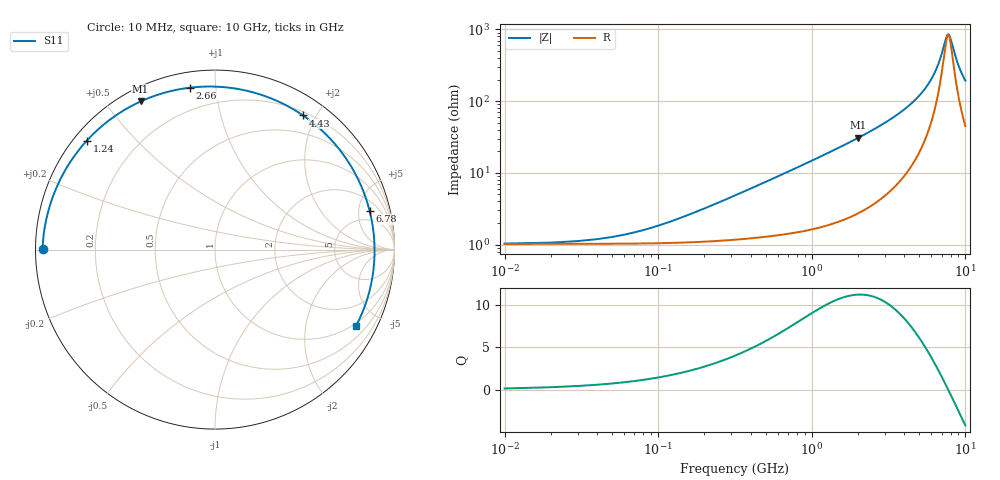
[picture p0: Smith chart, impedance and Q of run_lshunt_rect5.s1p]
#  Hz  S  RI  R  50
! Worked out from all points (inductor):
!   1000 points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, 10 MHz to 10 GHz, reference 50 ohm
!   read as one part to ground: L = 2.36 nH near 230 MHz
!   highest Q = 11.2 at 2.01 GHz (marker M1), where L = 2.44 nH
!   self-resonance near 7.731 GHz
!   S11 on the Smith chart (normalised r, x): 10 MHz: 0.02, +0.00; 1.24 GHz: 0.04, +0.37; 2.66 GHz: 0.08, +0.86; 4.43 GHz: 0.25, +1.83; 6.78 GHz: 3.20, +6.56; 10 GHz: 0.89, -3.76
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1e7  -0.9599 0.00583
6e7  -0.959 0.0349
2.8e8  -0.9422 0.1585
5.9e8  -0.8935 0.3202
9e8  -0.8199 0.467
1.24e9  -0.7146 0.6068
1.26e9  -0.7077 0.6142
1.64e9  -0.5662 0.738
2.01e9  -0.4144 0.8254
2.26e9  -0.3081 0.8661
2.51e9  -0.2014 0.8928
2.66e9  -0.138 0.9024
2.92e9  -0.0301 0.9086
3.18e9  0.0738 0.9027
3.46e9  0.1799 0.8843
3.76e9  0.2859 0.8527
4.1e9  0.3955 0.8044
4.43e9  0.4905 0.7474
5.01e9  0.6302 0.6299
5.31e9  0.6891 0.5631
5.62e9  0.7409 0.4915
6.26e9  0.8207 0.3396
6.78e9  0.8614 0.2162
7.51e9  0.8874 0.0487
8.11e9  0.886 -0.0808
8.76e9  0.8657 -0.2106
9.44e9  0.8278 -0.3334
1e10  0.7865 -0.4242
